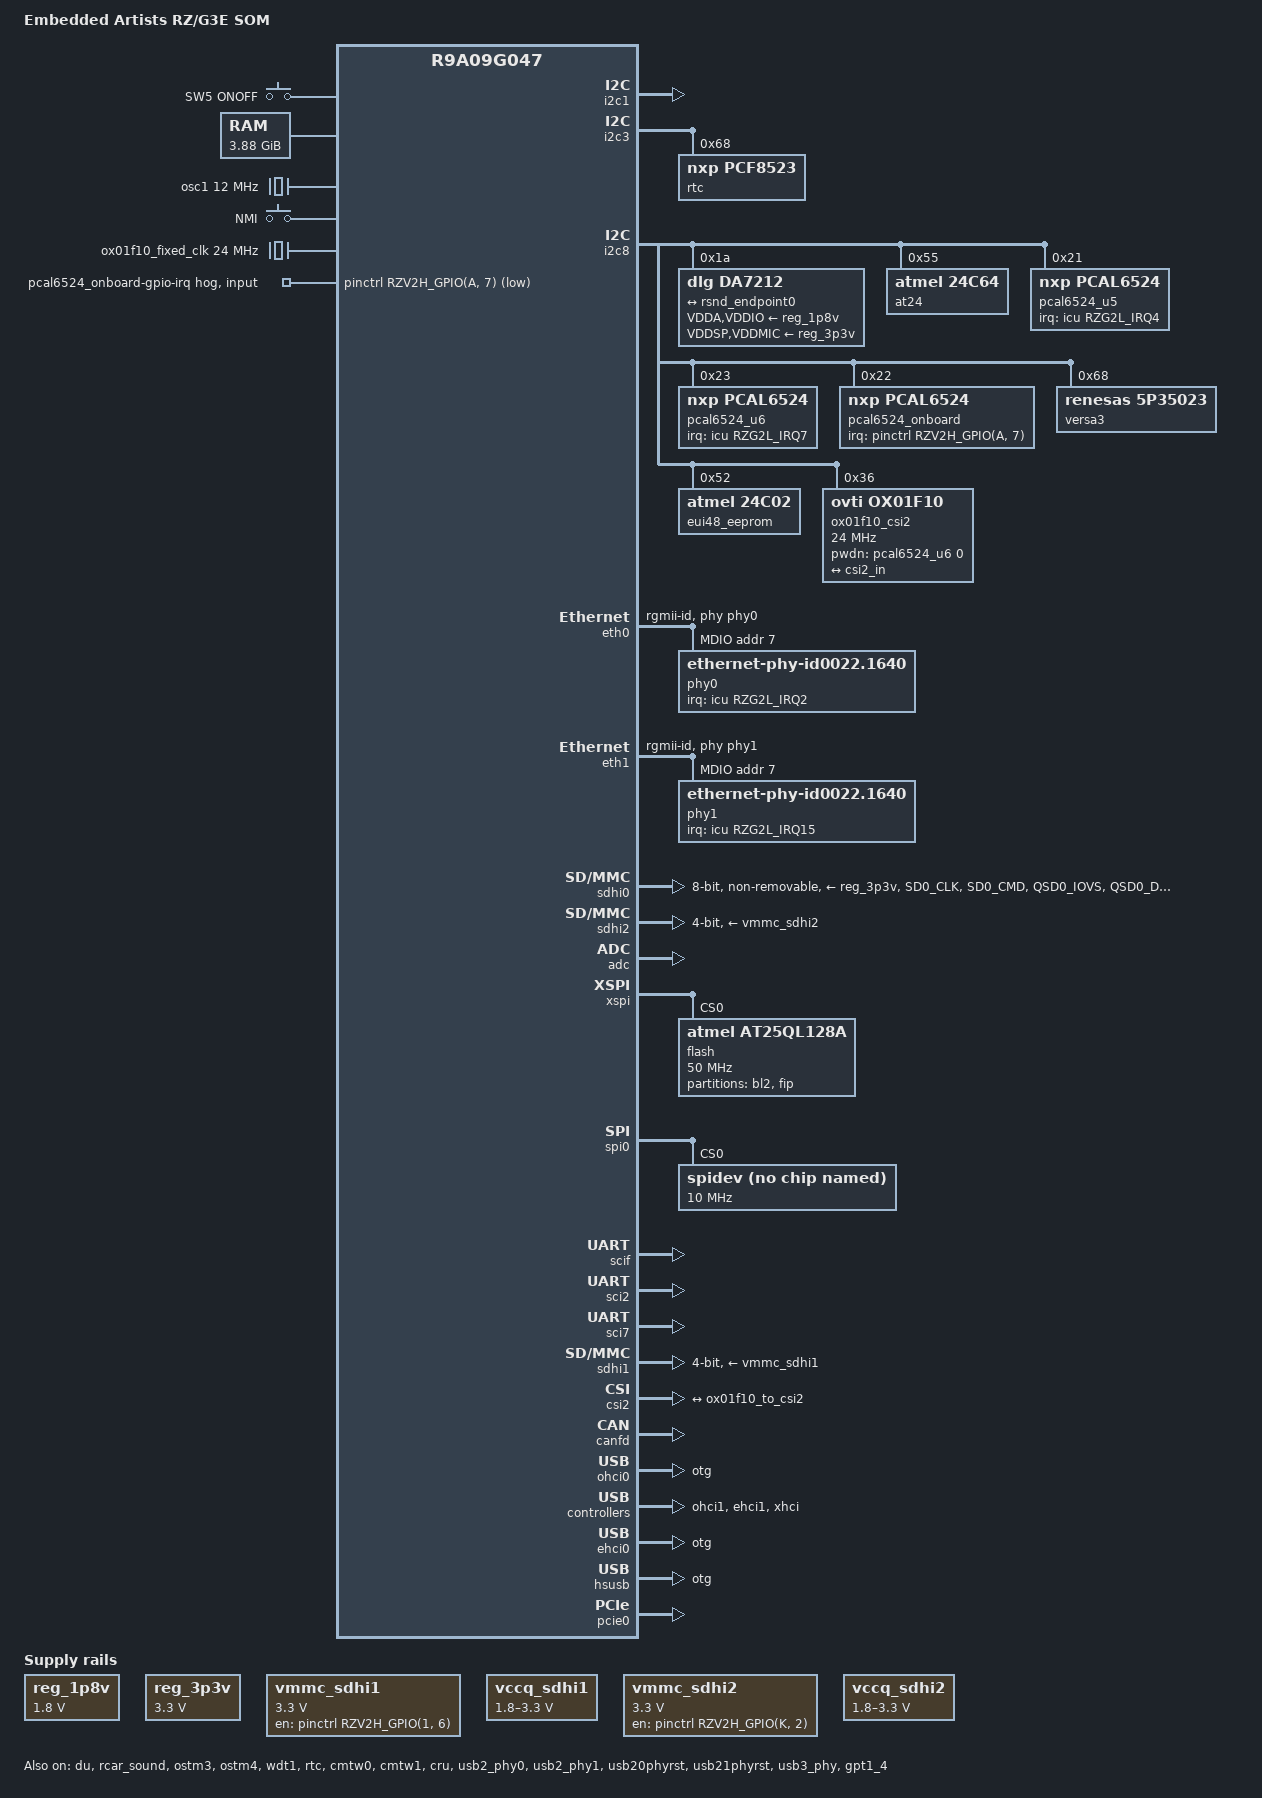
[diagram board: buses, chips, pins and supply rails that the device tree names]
// SPDX-License-Identifier: (GPL-2.0-only OR BSD-2-Clause)
/*
 * Device Tree Source for the Embedded Artists RZ/G3E SOM Board
 *
 * Copyright (C) 2025 Embedded Artists AB.
 */

#include "r9a09g047.dtsi"


#include <dt-bindings/gpio/gpio.h>
#include <dt-bindings/input/input.h>
#include <dt-bindings/pinctrl/rzv2h-pinctrl.h>
#include <dt-bindings/interrupt-controller/irqc-rzg2l.h>
#include <dt-bindings/soc/renesas,rsci.h>

/ {
	model = "Embedded Artists RZ/G3E SOM";
	compatible = "renesas,r9a09g047e57-smarc", "renesas,r9a09g047e57", "renesas,r9a09g047";

	aliases {
		mmc0 = &sdhi0;
		mmc1 = &sdhi1;
		mmc2 = &sdhi2;
		ethernet0 = &eth0;
		ethernet1 = &eth1;
		serial0 = &scif;
		serial1 = &sci2;
		serial2 = &sci7;
	};

	keys {
		compatible = "gpio-keys";

		key-1 {
			interrupts = <11 IRQ_TYPE_EDGE_FALLING>;
			interrupt-parent = <&pcal6524_onboard>;
			linux,code = <KEY_POWER>;
			label = "SW5 ONOFF";
			wakeup-source;
			debounce-interval = <20>;
		};
	};

	chosen {
		bootargs = "ignore_loglevel";
		stdout-path = "serial0:115200n8";
	};

	memory@48000000 {
		device_type = "memory";
		/* first 128MB is reserved for secure area. */
		reg = <0x0 0x48000000 0x0 0xF8000000>;
	};

	reserved-memory {
		#address-cells = <2>;
		#size-cells = <2>;
		ranges;

		global_cma: linux,cma@58000000 {
			compatible = "shared-dma-pool";
			linux,cma-default;
			reusable;
			reg = <0x0 0x58000000 0x0 0x10000000>;
		};

		mmp_reserved: linux,multimedia {
			compatible = "shared-dma-pool";
			reusable;
			reg = <0x0 0x68000000 0x0 0x10000000>;
		};
	};

	mmngr {
		compatible = "renesas,mmngr";
		memory-region = <&mmp_reserved>;
	};

	mmngrbuf {
		compatible = "renesas,mmngrbuf";
	};

	vspm_if {
		compatible = "renesas,vspm_if";
	};

	sound_card: sound {
		compatible = "audio-graph-card";

		label = "rcar-sound";
		dais = <&rsnd_port0	/* DA7211 */
			>;
	};

	reg_1p8v: regulator0 {
		compatible = "regulator-fixed";

		regulator-name = "fixed-1.8V";
		regulator-min-microvolt = <1800000>;
		regulator-max-microvolt = <1800000>;
		regulator-boot-on;
		regulator-always-on;
	};

	reg_3p3v: regulator1 {
		compatible = "regulator-fixed";

		regulator-name = "fixed-3.3V";
		regulator-min-microvolt = <3300000>;
		regulator-max-microvolt = <3300000>;
		regulator-boot-on;
		regulator-always-on;
	};

	vmmc_sdhi1: regulator-vcc-sdhi1 {
		compatible = "regulator-fixed";

		regulator-name = "SDHI1 Vmmc";
		regulator-min-microvolt = <3300000>;
		regulator-max-microvolt = <3300000>;

		gpios = <&pinctrl RZV2H_GPIO(1, 6) GPIO_ACTIVE_HIGH>;
		enable-active-high;
	};

	vccq_sdhi1: regulator-vccq-sdhi1 {
		compatible = "regulator-gpio";

		regulator-name = "SDHI1 VccQ";
		regulator-min-microvolt = <1800000>;
		regulator-max-microvolt = <3300000>;

		gpios = <&pinctrl RZV2H_GPIO(1, 5) GPIO_ACTIVE_HIGH>;

		gpios-states = <0>;
		states = <3300000 0>, <1800000 1>;
	};

	vmmc_sdhi2: regulator-vcc-sdhi2 {
		compatible = "regulator-fixed";

		regulator-name = "SDHI2 Vmmc";
		regulator-min-microvolt = <3300000>;
		regulator-max-microvolt = <3300000>;

		gpios = <&pinctrl RZV2H_GPIO(K, 2) GPIO_ACTIVE_HIGH>;
		enable-active-high;
	};

	vccq_sdhi2: regulator-vccq-sdhi2 {
		compatible = "regulator-gpio";

		regulator-name = "SDHI2 VccQ";
		regulator-min-microvolt = <1800000>;
		regulator-max-microvolt = <3300000>;

		gpios = <&pinctrl RZV2H_GPIO(K, 1) GPIO_ACTIVE_HIGH>;

		gpios-states = <0>;
		states = <3300000 0>, <1800000 1>;
	};

	x2: x2-clock {
		compatible = "fixed-clock";
		#clock-cells = <0>;
		clock-frequency = <24000000>;
	};

	osc1: cec-clock {
		compatible = "fixed-clock";
		#clock-cells = <0>;
		clock-frequency = <12000000>;
	};

	gpio-keys {
		compatible = "gpio-keys";

		pinctrl-0 = <&icu_pins>;
		pinctrl-names = "default";

		nmi {
		        interrupt-parent = <&icu>;
		        interrupts = <0 IRQ_TYPE_EDGE_FALLING>;
			linux,code = <0>;
		        label = "NMI";
		        wakeup-source;
		};
	};

	ox01f10_fixed_clk: osc25250-clk {
		compatible = "fixed-clock";
		#clock-cells = <0>;
		clock-frequency = <24000000>;
	};
};

&pinctrl {

	sound_clk_pins: sound_clk {
		pinmux = <RZV2H_PORT_PINMUX(4, 2, 8)>, /* AUDIO_CLKB */
			 <RZV2H_PORT_PINMUX(4, 3, 8)>; /* AUDIO_CLKC */
	};

	sound_pins: sound {
		ssi34 {
			pinmux = <RZV2H_PORT_PINMUX(0, 3, 9)>, /* SSI3_SCK */
				 <RZV2H_PORT_PINMUX(0, 4, 9)>, /* SSI3_WS */
				 <RZV2H_PORT_PINMUX(0, 2, 9)>, /* SSI3_SDATA */
				 <RZV2H_PORT_PINMUX(0, 5, 9)>; /* SSI4_SDATA */
		};
		ssi0 {
			pinmux = <RZV2H_PORT_PINMUX(7, 1, 9)>, /* SSI0_SCK */
				 <RZV2H_PORT_PINMUX(7, 2, 9)>, /* SSI0_WS */
				 <RZV2H_PORT_PINMUX(7, 0, 9)>; /* SSI0_SDATA */
		};
	};

	i2c1_pins: i2c1 {
		pinmux = <RZV2H_PORT_PINMUX(L, 2, 4)>, /* SCL */
			 <RZV2H_PORT_PINMUX(L, 3, 4)>; /* SDA */
	};

	i2c3_pins: i2c3 {
		pinmux = <RZV2H_PORT_PINMUX(3, 6, 1)>, /* SCL */
			 <RZV2H_PORT_PINMUX(3, 7, 1)>; /* SDA */
	};

	i2c8_pins: i2c8 {
		pinmux = <RZV2H_PORT_PINMUX(3, 4, 4)>, /* SCL */
			 <RZV2H_PORT_PINMUX(3, 5, 4)>; /* SDA */
	};

	pcal6524_u5_pins: pcal6524_u5 {
		pinmux = <RZV2H_PORT_PINMUX(1, 7, 15)>; /* ICU IRQ 4 - GPIO-A */
	};

	pcal6524_u6_pins: pcal6524_u6 {
		pinmux = <RZV2H_PORT_PINMUX(K, 0, 15)>; /* ICU IRQ 7 - GPIO-B */
	};

	/* Need to use PA7 as a gpio and not ICU IRQ2 as that is used by
	   eth0 interrupt (PC2) */
	pcal6524_onboard-gpio-hog {
		gpio-hog;
		gpios = <RZV2H_GPIO(A, 7) GPIO_ACTIVE_LOW>;
		input;
		line-name = "pcal6524_onboard-gpio-irq";
	};

	eth0_pins: eth0 {
		pinmux = <RZV2H_PORT_PINMUX(A, 1, 1)>, /* MDC */
			 <RZV2H_PORT_PINMUX(A, 0, 1)>, /* MDIO */
			 <RZV2H_PORT_PINMUX(C, 2, 15)>,/* PHY_INTR */
			 <RZV2H_PORT_PINMUX(C, 1, 1)>, /* RXD3 */
			 <RZV2H_PORT_PINMUX(C, 0, 1)>, /* RXD2 */
			 <RZV2H_PORT_PINMUX(B, 7, 1)>, /* RXD1 */
			 <RZV2H_PORT_PINMUX(B, 6, 1)>, /* RXD0 */
			 <RZV2H_PORT_PINMUX(B, 0, 1)>, /* RXC */
			 <RZV2H_PORT_PINMUX(A, 2, 1)>, /* RX_CTL */
			 <RZV2H_PORT_PINMUX(B, 5, 1)>, /* TXD3 */
			 <RZV2H_PORT_PINMUX(B, 4, 1)>, /* TXD2 */
			 <RZV2H_PORT_PINMUX(B, 3, 1)>, /* TXD1 */
			 <RZV2H_PORT_PINMUX(B, 2, 1)>, /* TXD0 */
			 <RZV2H_PORT_PINMUX(B, 1, 1)>, /* TXC */
			 <RZV2H_PORT_PINMUX(A, 3, 1)>; /* TX_CTL */
	};

	eth1_pins: eth1 {
		pinmux = <RZV2H_PORT_PINMUX(D, 1, 1)>, /* MDC */
			 <RZV2H_PORT_PINMUX(D, 0, 1)>, /* MDIO */
			 <RZV2H_PORT_PINMUX(F, 2, 15)>,/* PHY_INTR */
			 <RZV2H_PORT_PINMUX(F, 1, 1)>, /* RXD3 */
			 <RZV2H_PORT_PINMUX(F, 0, 1)>, /* RXD2 */
			 <RZV2H_PORT_PINMUX(E, 7, 1)>, /* RXD1 */
			 <RZV2H_PORT_PINMUX(E, 6, 1)>, /* RXD0 */
			 <RZV2H_PORT_PINMUX(E, 0, 1)>, /* RXC */
			 <RZV2H_PORT_PINMUX(D, 2, 1)>, /* RX_CTL */
			 <RZV2H_PORT_PINMUX(E, 5, 1)>, /* TXD3 */
			 <RZV2H_PORT_PINMUX(E, 4, 1)>, /* TXD2 */
			 <RZV2H_PORT_PINMUX(E, 3, 1)>, /* TXD1 */
			 <RZV2H_PORT_PINMUX(E, 2, 1)>, /* TXD0 */
			 <RZV2H_PORT_PINMUX(E, 1, 1)>, /* TXC */
			 <RZV2H_PORT_PINMUX(D, 3, 1)>; /* TX_CTL */
	};

	sdhi0_pins: sd0emmc {
		sd0-emmc-ctrl {
			pins = "SD0_CLK", "SD0_CMD";
			renesas,output-impedance = <3>;
		};

		sd0-iovs {
			pins = "QSD0_IOVS";
			renesas,output-impedance = <3>;
		};

		sd0-emmc-data {
			pins = "QSD0_DAT0", "QSD0_DAT1", "QSD0_DAT2", "QSD0_DAT3",
			       "QSD0_DAT4", "QSD0_DAT5", "QSD0_DAT6", "QSD0_DAT7";
			renesas,output-impedance = <3>;
		};

		sd0-emmc-rst {
			pins = "SD0_RSTN";
			renesas,output-impedance = <3>;
		};
	};

	sdhi2_pins: sd2 {
		sd2_data {
			pinmux = <RZV2H_PORT_PINMUX(H, 2, 1)>, /* QSD2_DAT0 */
				 <RZV2H_PORT_PINMUX(H, 3, 1)>, /* QSD2_DAT1 */
				 <RZV2H_PORT_PINMUX(H, 4, 1)>, /* QSD2_DAT2 */
				 <RZV2H_PORT_PINMUX(H, 5, 1)>; /* QSD2_DAT3 */
		};

		sd2_ctrl {
			pinmux = <RZV2H_PORT_PINMUX(H, 0, 1)>, /* QSD2_CLK */
				 <RZV2H_PORT_PINMUX(H, 1, 1)>; /* QSD2_CMD */
		};
	};

	xspi_pins: xspi0 {
		pinmux = <RZV2H_PORT_PINMUX(M, 0, 0)>, /* XSPI0_IO0 */
			 <RZV2H_PORT_PINMUX(M, 1, 0)>, /* XSPI0_IO1 */
			 <RZV2H_PORT_PINMUX(M, 2, 0)>, /* XSPI0_IO2 */
			 <RZV2H_PORT_PINMUX(M, 3, 0)>, /* XSPI0_IO3 */
			 <RZV2H_PORT_PINMUX(L, 0, 0)>, /* XSPI0_CKP */
			 <RZV2H_PORT_PINMUX(L, 1, 0)>; /* XSPI0_CS0 */
	};

	i3c_pins: i3c {
		pinmux = <RZV2H_PORT_PINMUX(2, 1, 2)>, /* I3C_SDA */
			 <RZV2H_PORT_PINMUX(2, 0, 2)>; /* I3C_SCL */
	};

	canfd_pins: canfd {
		can1_pins: can1 {
			pinmux = <RZV2H_PORT_PINMUX(D, 6, 3)>, /* RX */
				 <RZV2H_PORT_PINMUX(D, 7, 3)>; /* TX */
		};

		can5_pins: can5 {
			pinmux = <RZV2H_PORT_PINMUX(4, 4, 3)>, /* RX */
				 <RZV2H_PORT_PINMUX(4, 5, 3)>; /* TX */
		};
	};

	sdhi1_pins: sd1 {
		sd1_mux {
			pinmux = <RZV2H_PORT_PINMUX(1, 4, 8)>; /* QSD1_CD */
		};

		sd1_data {
			pinmux = <RZV2H_PORT_PINMUX(G, 2, 1)>, /* QSD1_DAT0 */
				 <RZV2H_PORT_PINMUX(G, 3, 1)>, /* QSD1_DAT1 */
				 <RZV2H_PORT_PINMUX(G, 4, 1)>, /* QSD1_DAT2 */
				 <RZV2H_PORT_PINMUX(G, 5, 1)>; /* QSD1_DAT3 */
		};

		sd1_ctrl {
			pinmux = <RZV2H_PORT_PINMUX(G, 0, 1)>, /* QSD1_CLK */
				 <RZV2H_PORT_PINMUX(G, 1, 1)>; /* QSD1_CMD */
		};
	};

	sci2_pins: sci2 {
		pinmux = <RZV2H_PORT_PINMUX(1, 1, 1)>, /* SCI2_TXD_MOSI_SDA */
			 <RZV2H_PORT_PINMUX(1, 0, 1)>; /* SCI2_RXD_MISO_SCL */
		bias-pull-up;
	};

	sci7_pins: sci7 {
		pinmux = <RZV2H_PORT_PINMUX(A, 5, 5)>, /* SCI7_TXD_MOSI_SDA */
			 <RZV2H_PORT_PINMUX(A, 4, 5)>; /* SCI7_RXD_MISO_SCL */
		bias-pull-up;
	};

	icu_pins: icu {
		nmi {
			pinmux = <RZV2H_PORT_PINMUX(S, 0, 0)>; /* NMI */
		};
	};

	usb20_pins: usb20 {
		pinmux = <RZV2H_PORT_PINMUX(0, 1, 12)>, /* VBUS */
			 <RZV2H_PORT_PINMUX(0, 0, 12)>; /* OVC */
	};

	usb21_pins: usb21 {
		pinmux = <RZV2H_PORT_PINMUX(K, 3, 12)>, /* VBUS */
			 <RZV2H_PORT_PINMUX(G, 6, 12)>; /* OVC */
	};

	usb3_pins: usb3 {
		pinmux = <RZV2H_PORT_PINMUX(4, 1, 12)>, /* VBUS */
			 <RZV2H_PORT_PINMUX(4, 0, 12)>; /* OVR */
	};

	spi0_pins: spi0 {
		pinmux = <RZV2H_PORT_PINMUX(3, 0, 2)>, /* MISOA - SCI6_RXD_MISO_SCL */
			 <RZV2H_PORT_PINMUX(3, 1, 2)>, /* MOSIA - SCI6_TXD_MOSI_SDA */
			 <RZV2H_PORT_PINMUX(3, 3, 2)>, /* SSLA0 - SCI6_SSL */
			 <RZV2H_PORT_PINMUX(3, 2, 2)>; /* RSPCKA - SCI6_SCLK */
	};

	gpt1_4_pins: gpt1_4 {
		pinmux = <RZV2H_PORT_PINMUX(A, 6, 10)>; /* BL_CONTRAST_PWM-GPIO */
	};
};

&qextal_clk {
	clock-frequency = <24000000>;
};

&audio_clkb {
	clock-frequency = <11289600>;
};

&audio_clkc {
	clock-frequency = <12288000>;
};

&du {
	status = "okay";
};

&rcar_sound {
	pinctrl-0 = <&sound_clk_pins &sound_pins>;
	pinctrl-names = "default";

	status = "okay";

	/* audio_clkout */
	#clock-cells = <0>;
	clock-frequency = <11289600>;

	/* Multi DAI */
	#sound-dai-cells = <1>;

	ports {
		#address-cells = <1>;
		#size-cells = <0>;
		rsnd_port0: port@0 {
			reg = <0>;
			rsnd_endpoint0: endpoint {
				remote-endpoint = <&da7212_endpoint>;

				dai-format = "i2s";
				bitclock-master = <&rsnd_endpoint0>;
				frame-master = <&rsnd_endpoint0>;

				playback = <&ssi3>;
				capture = <&ssi4>, <&src0>, <&dvc0>;
			};
		};

	};
};

&i2c1 { /* I2C-C */
	pinctrl-0 = <&i2c1_pins>;
	pinctrl-names = "default";

	status = "okay";
};

&i2c3 { /* "GP", I2C-B */
	pinctrl-0 = <&i2c3_pins>;
	pinctrl-names = "default";

	status = "okay";

	rtc@68 {
		compatible = "nxp,pcf8523";
		reg = <0x68>;
	};

};

&i2c8 { /* I2C-A, "PM" */
	pinctrl-0 = <&i2c8_pins>;
	pinctrl-names = "default";
	status = "okay";


	da7212: codec@1a {
		compatible = "dlg,da7212";
		#sound-dai-cells = <0>;
		#address-cells = <1>;
		#size-cells = <0>;
		reg = <0x1a>;

		clocks = <&versa3 1>;
		clock-names = "mclk";

		dlg,micbias1-lvl = <2500>;
		dlg,micbias2-lvl = <2500>;
		dlg,dmic-data-sel = "lrise_rfall";
		dlg,dmic-samplephase = "between_clkedge";
		dlg,dmic-clkrate = <3000000>;

		VDDA-supply = <&reg_1p8v>;
		VDDSP-supply = <&reg_3p3v>;
		VDDMIC-supply = <&reg_3p3v>;
		VDDIO-supply = <&reg_1p8v>;

		port {
			da7212_endpoint: endpoint {
				remote-endpoint = <&rsnd_endpoint0>;
				mclk-fs = <512>;
			};
		};
	};

	at24@55 {
		compatible = "atmel,24c64";
		pagesize = <32>;
		reg = <0x55>;
		read-only;
	};

	pcal6524_u5: gpio@21 {
		compatible = "nxp,pcal6524";
		pinctrl-names = "default";
		pinctrl-0 = <&pcal6524_u5_pins>;
		reg = <0x21>;
		gpio-controller;
		#gpio-cells = <2>;
		interrupt-controller;
		#interrupt-cells = <2>;
		interrupt-parent = <&icu>;
		interrupts = <RZG2L_IRQ4 IRQ_TYPE_EDGE_BOTH>;
		gpio-line-names = "M2E_WL_REG_ON_3V3", "M2E_WL_DEV_WAKE", "M2E_WL_HOST_WAKE", "M2E_BT_REG_ON",
			"M2E_BT_DEV_WAKE", "M2E_BT_HOST_WAKE", "M2E_SDIO_RST", "M2E_PERST",
			"M2E_PEWAKE", "M2E_ALERT", "M2E_PWR_EN", "M2B_PWR_OFF",
			"M2B_WDISABLE", "M2B_PEWAKE", "M2B_PERST", "M2M_PERST",
			"M2M_PEWAKE", "M2BM_PWR_EN", "M2B_RESET", "SE050_EN_RST",
			"SLS32AIA_RST", "I2C_EXT_IRQ", "I2C_EXT_RST", "MIPI_RST";

		hog_M2E_WL_REG_ON_3V3 {
			gpio-hog;
			gpios = <0 0>;
			output-high;
		};
		hog_M2B_PERST { /* To use M.2 B-key (usb/pci) slot on carrier board */
			gpio-hog;
			gpios = <18 0>;
			output-high;
		};
		hog_M2E_PERST { /* To use M.2 E-key (wifi) slot on carrier board */
			gpio-hog;
			gpios = <7 0>;
			output-high;
		};
		hog_SE050_EN_RST {
			gpio-hog;
			gpios = <19 0>;
			output-high;
		};
		/*hog_M2B_PWR_OFF {
			gpio-hog;
			gpios = <11 0>;
			output-high;
		};*/
		/*hog_M2B_WDISABLE {
			gpio-hog;
			gpios = <12 0>;
			output-high;
		};*/
		hog_M2M_PERST { /* To use M.2 M-key (deepx) slot on carrier board */
			gpio-hog;
			gpios = <15 0>;
			output-high;
		};
	};

	pcal6524_u6: gpio@23 {
		compatible = "nxp,pcal6524";
		pinctrl-names = "default";
		pinctrl-0 = <&pcal6524_u6_pins>;
		reg = <0x23>;
		gpio-controller;
		#gpio-cells = <2>;
		interrupt-controller;
		#interrupt-cells = <2>;
		interrupt-parent = <&icu>;
		interrupts = <RZG2L_IRQ7 IRQ_TYPE_EDGE_BOTH>;
		gpio-line-names = "CSI0_RST-DATA", "CSI0_PWR-CLK", "CSI1_RST-DATA", "CSI1_PWR-CLK",
			"MIPI_CTP_RST", "MIPI_CTP_IRQ", "RGB_BL_PWR", "RGB_CTP_RST",
			"RGB_CTP_IRQ", "MIPI_BL_PWR_EN", "ADV_IRQ", "",
			"", "", "", "RGB_LED_RED",
			"RGB_LED_BLUE", "RGB_LED_GREEN", "USER_LED_RED", "USER_LED_GREEN",
			"USER_LED_YELLOW", "USER_BUTTON1", "USER_BUTTON2", "USER_BUTTON3";
	};

	pcal6524_onboard: gpio@22 {
		compatible = "nxp,pcal6524";
		/*pinctrl-names = "default";
		pinctrl-0 = <&pcal6524_onboard_pins>;*/
		reg = <0x22>;
		gpio-controller;
		#gpio-cells = <2>;
		interrupt-controller;
		#interrupt-cells = <2>;
		interrupt-parent = <&pinctrl>;
		interrupts = <RZV2H_GPIO(A, 7) IRQ_TYPE_EDGE_FALLING>;
		gpio-line-names = "BL_PWR_EN", "DISP_PWR_EN", "TP_IRQ", "TP_RST",
			"GPIO_H", "GPIO_J", "GPIO_E", "GPIO_F",
			"GPIO_G", "", "", "",
			"", "", "", "WL_REG_ON",
			"WL_HOST_WAKE", "WL_DEV_WAKE", "BT_REG_ON", "BT_HOST_WAKE",
			"BT_DEV_WAKE", "", "", "";
	};

	versa3: clock-generator@68 {
		compatible = "renesas,5p35023";
		reg = <0x68>;
		#clock-cells = <1>;
		clocks = <&x2>;

		assigned-clocks = <&versa3 0>, <&versa3 1>,
				  <&versa3 2>, <&versa3 3>,
				  <&versa3 4>, <&versa3 5>;
		assigned-clock-rates = <24000000>, <12288000>,
				       <11289600>, <12288000>,
				       <25000000>, <25000000>;
	};

	eui48_eeprom: eeprom@52 {
		compatible = "atmel,24c02";
		reg = <0x52>;
		pagesize = <16>;

		#address-cells = <1>;
		#size-cells = <1>;

		/*
		 * Expose the EUI-48 stored at offset 0xFA (depends on device)
		 * as an nvmem cell named "mac-address".
		 */
		macaddr: mac-address@fa {
			reg = <0xfa 6>;  /* offset 0xFA, length 6 bytes */
		};
	};

	ox01f10_csi2: ox01f10_csi2@36 {
		compatible = "ovti,ox01f10";
		reg = <0x36>;
		clock-names = "xclk";
		clocks = <&ox01f10_fixed_clk>;
		clock-frequency = <24000000>;
		pwdn-gpios = <&pcal6524_u6 0 GPIO_ACTIVE_HIGH>;

		port {
			ox01f10_to_csi2: endpoint {
				clock-lanes = <0>;
				data-lanes = <1 2>;
				remote-endpoint = <&csi2_in>;
			};
		};
	};
};

&eth0 {
	phy-handle = <&phy0>;
	phy-mode = "rgmii-id";

	pinctrl-0 = <&eth0_pins>;
	pinctrl-names = "default";
	status = "okay";

	mdio {
		#address-cells = <1>;
		#size-cells = <0>;
		phy0: ethernet-phy@7 {
			compatible = "ethernet-phy-id0022.1640",
					"ethernet-phy-ieee802.3-c22";
			reg = <7>;
			rxc-skew-psec = <1400>;
			txc-skew-psec = <1400>;
			rxdv-skew-psec = <0>;
			txdv-skew-psec = <0>;
			rxd0-skew-psec = <0>;
			rxd1-skew-psec = <0>;
			rxd2-skew-psec = <0>;
			rxd3-skew-psec = <0>;
			txd0-skew-psec = <0>;
			txd1-skew-psec = <0>;
			txd2-skew-psec = <0>;
			txd3-skew-psec = <0>;

			interrupt-parent = <&icu>;
			interrupts = <RZG2L_IRQ2 IRQ_TYPE_LEVEL_LOW>;
		};
	};
};

&eth1 {
	phy-handle = <&phy1>;
	phy-mode = "rgmii-id";

	pinctrl-0 = <&eth1_pins>;
	pinctrl-names = "default";
	status = "okay";

	mdio {
		#address-cells = <1>;
		#size-cells = <0>;
		phy1: ethernet-phy@7 {
			compatible = "ethernet-phy-id0022.1640",
					"ethernet-phy-ieee802.3-c22";
			reg = <7>;
			rxc-skew-psec = <1400>;
			txc-skew-psec = <1400>;
			rxdv-skew-psec = <0>;
			txdv-skew-psec = <0>;
			rxd0-skew-psec = <0>;
			rxd1-skew-psec = <0>;
			rxd2-skew-psec = <0>;
			rxd3-skew-psec = <0>;
			txd0-skew-psec = <0>;
			txd1-skew-psec = <0>;
			txd2-skew-psec = <0>;
			txd3-skew-psec = <0>;

			interrupt-parent = <&icu>;
			interrupts = <RZG2L_IRQ15 IRQ_TYPE_LEVEL_LOW>;
		};
	};
};

/* eMMC */
&sdhi0 {
	pinctrl-0 = <&sdhi0_pins>;
	pinctrl-1 = <&sdhi0_pins>;
	pinctrl-names = "default", "state_uhs";

	vmmc-supply = <&reg_3p3v>;
	vqmmc-supply = <&vqmmc_sdhi0>;

	bus-width = <8>;
	mmc-hs200-1_8v;
	non-removable;
	fixed-emmc-driver-type = <1>;
	status = "okay";
};

/* Either onboard 2FY or M.2 E-key on Carrier Board */
&sdhi2 {
	pinctrl-0 = <&sdhi2_pins>;
	pinctrl-1 = <&sdhi2_pins>;
	pinctrl-names = "default", "state_uhs";

	vmmc-supply = <&vmmc_sdhi2>;
	vqmmc-supply = <&vccq_sdhi2>;
	bus-width = <4>;
	sd-uhs-sdr50;
	sd-uhs-sdr104;
	status = "okay";

	/delete-node/ vqmmc-regulator;
};

&adc {
       status = "okay";
};

&ostm3 {
	status = "okay";
};

&ostm4 {
	status = "okay";
};

&xspi {
	pinctrl-0 = <&xspi_pins>;
	pinctrl-names = "default";
	status = "okay";

	flash@0 {
		compatible = "atmel,at25ql128a", "jedec,spi-nor";
		reg = <0>;
		m25p,fast-read;
		spi-max-frequency = <50000000>;
		spi-tx-bus-width = <1>;
		spi-rx-bus-width = <1>;

		partitions {
			compatible = "fixed-partitions";
			#address-cells = <1>;
			#size-cells = <1>;

			partition@0 {
				label = "bl2";
				reg = <0x00000000 0x00040000>;
				read-only;
			};

			partition@60000 {
				label = "fip";
				reg = <0x00060000 0x00FA0000>;
				read-only;
			};
		};
	};
};

&wdt1 {
	status = "okay";
};

&rtc {
	status = "okay";
};

&cmtw0 {
	status = "okay";
};

&cmtw1 {
	status = "okay";
};

&i3c {
	pinctrl-0 = <&i3c_pins>;
	pinctrl-names = "default";

	/* Enable when there is an I3C external device defined here */
	/* status = "okay"; */
};

&ssi4 {
	shared-pin;
};

&spi0 {
	pinctrl-0 = <&spi0_pins>;
	pinctrl-names = "default";

	status = "okay";

	spidev@0 {
		compatible = "rohm,dh2228fv";
		reg = <0>;
		spi-max-frequency = <10000000>;
	};
};

/* UART-A (console) */
&scif {
	status = "okay";
};

/* UART-B */
&sci2 {
	pinctrl-0 = <&sci2_pins>;
	pinctrl-names = "default";
	status = "okay";
};

/* UART-C */
&sci7 {
	pinctrl-0 = <&sci7_pins>;
	pinctrl-names = "default";
	status = "okay";
};

&sdhi1 {
	pinctrl-0 = <&sdhi1_pins>;
	pinctrl-1 = <&sdhi1_pins>;
	pinctrl-names = "default", "state_uhs";

	vmmc-supply = <&vmmc_sdhi1>;
	vqmmc-supply = <&vccq_sdhi1>;

	bus-width = <4>;
	sd-uhs-sdr50;
	sd-uhs-sdr104;

	status = "okay";

	/delete-node/ vqmmc-regulator;
};

&cru {
	status = "okay";
};

&csi2 {
	status = "okay";

	ports {
		port {
			csi2_in: endpoint {
				clock-lanes = <0>;
				data-lanes = <1 2>;
				remote-endpoint = <&ox01f10_to_csi2>;
			};
		};
	};
};

&canfd {
	pinctrl-0 = <&canfd_pins>;
	pinctrl-names = "default";
	status = "okay";

	channel1 {
		status = "okay";
	};

	channel5 {
		status = "okay";
	};
};

&ohci0 {
	memory-region = <&global_cma>;
	dr_mode = "otg";
	status = "okay";
};

&ohci1 {
	memory-region = <&global_cma>;
	status = "okay";
};

&ehci0 {
	memory-region = <&global_cma>;
	dr_mode = "otg";
	status = "okay";
};

&ehci1 {
	memory-region = <&global_cma>;
	status = "okay";
};

&hsusb {
	dr_mode = "otg";
	status = "okay";
};

&usb2_phy0 {
	pinctrl-0 = <&usb20_pins>;
	pinctrl-names = "default";

	status = "okay";
};

&usb2_phy1 {
	pinctrl-0 = <&usb21_pins>;
	pinctrl-names = "default";

	status = "okay";
};

&usb20phyrst {
	status = "okay";
};

&usb21phyrst {
	status = "okay";
};

&xhci {
	pinctrl-0 = <&usb3_pins>;
	pinctrl-names = "default";

	memory-region = <&global_cma>;
	status = "okay";
};

&usb3_phy {
	status = "okay";
};

&pcie0 {
	status = "okay";
};

/* BL_CONTRAST_PWM-GPIO used as PWM when not used as backlight (which is only for LVDS).
   PA6 Func#10 is GPT1 GTIOC12A, and 12 % 8 is 4, 12//8 is 1 so gpt1_4. The "A" at the end
   indicates if it should be "channel_A" or "channel_B". */
&gpt1_4 {
	pinctrl-0 = <&gpt1_4_pins>;
	pinctrl-names = "default";
	channel = "channel_A";
	status = "okay";
};
